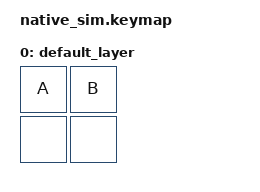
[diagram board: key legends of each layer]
#include <behaviors.dtsi>
#include <dt-bindings/zmk/keys.h>
#include <dt-bindings/zmk/kscan_mock.h>

/ {
    keymap {
        compatible = "zmk,keymap";

        default_layer {
            bindings = <
                &kp A &kp B
                &none &none
            >;
        };
    };
};

&kscan {
    /delete-property/ exit-after;
    events = <
        ZMK_MOCK_PRESS(0,0,101)
        ZMK_MOCK_PRESS(0,1,0)
        ZMK_MOCK_RELEASE(0,0,0)
        ZMK_MOCK_RELEASE(0,1,0)
    >;
};
